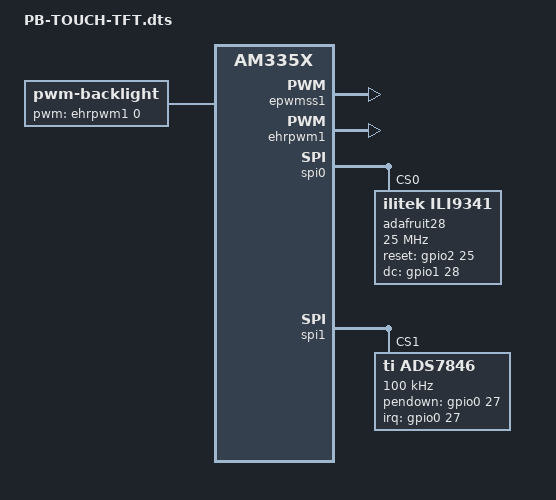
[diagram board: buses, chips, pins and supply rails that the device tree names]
/*
 * Touch LCD device tree
 *  - ILI9341 LCD device tree for a generic LCD display using the pocketbeagle SPI0
 *  - TSC2046 resistive touch controller (TSC2046) using the pocketbeagle SPI1
 *
 * Build
 *  dtc -O dtb -o PB-TOUCH-TFT.dtbo -b 0 -@ PB-TOUCH-TFT.dts
 *
 * Install
 *  sudo cp PB-TOUCH-TFT.dtbo /lib/firmware
 *  edit /boot/uEnv.txt as root and replace the ###Custom Cape line as shown below
 *
 *   ###Custom Cape
 *   dtb_overlay=/lib/firmware/PB-TOUCH-TFT.dtbo
 *
 * Reboot and you should be rewarded by a lit LCD and a /dev/fb0 entry for your pleasure.
 *
 * Based on the work by: AnthonyDiGirolamo and Ankit Daftery
 *
 */
/dts-v1/;
/plugin/;

/ {
compatible = "ti,am335x-pocketbeagle";

/* identification */
part-number = "PB-TOUCH-TFT";

/* version */
version = "00A0";

/* stat the resources this cape uses */
exclusive-use = 
	/* the LCD pin header uses */
	"P1.8",		/* spi0_sclk */
	"P1.10",	/* spi0_d0 - MISO */
	"P1.12",	/* spi0_d1 - MOSI */
	"P1.6",		/* spi0_cs0 */
	"P1.4",		/* gpio2_25 - reset */
	"P2.8",		/* gpio1_28 - dc */
	"P2.1",		/* ehrpwm1a - backlight */
	/* the Touch pin header uses */
	"P2.31",	/* SPI1_cs1 */
	"P2.27",	/* SPI1_d0 - MISO */
	"P2.25",	/* SPI1_d1 - MOSI */
	"P2.29",	/* SPI1_sclk */
	"P2.19",	/* gpio0_27 - pendown */
	/* the hardware ip uses */
	"gpio0_27",
	"gpio1_28",
	"gpio2_25",
	"ehrpwm1a",
	"spi0",
	"spi1";

	fragment@0 {
		target = <&ocp>;
		__overlay__ {
			P1_06_pinmux { status = "disabled"; };	/* LCD - CS */
			P1_08_pinmux { status = "disabled"; };	/* LCD - SCLK */
			P1_10_pinmux { status = "disabled"; };	/* LCD - MISO */
			P1_12_pinmux { status = "disabled"; };	/* LCD - MOSI */
			P2_01_pinmux { status = "disabled"; };	/* LCD - LED */
			P2_08_pinmux { status = "disabled"; };	/* LCD - DC */
			P1_04_pinmux { status = "disabled"; };	/* LCD - RST */
			P2_19_pinmux { status = "disabled"; };	/* Touch - pendown */
			P2_25_pinmux { status = "disabled"; };	/* Touch - MOSI */
			P2_27_pinmux { status = "disabled"; };	/* Touch - MISO */
			P2_29_pinmux { status = "disabled"; };	/* Touch - SCLK */
			P2_31_pinmux { status = "disabled"; };	/* Touch - CS */
		};
	};

	/*
	 * Free up the gpios used by the cape-universal gpio helpers.
	 */
	fragment@1 {
		target = <&ocp>;
		__overlay__ {
			cape-universal { status = "disabled"; };
		};
	};

	/*
	 * Make a new set of gpio helpers.
	 */
	fragment@2 {
		target = <&ocp>;
		__overlay__ {
			cape-universal@1 {
				compatible = "gpio-of-helper";
				status = "okay";
				pinctrl-names = "default";
				pinctrl-0 = <>;

				P1_02 {
					gpio-name = "P1_02";
					gpio = <&gpio2 23 0>;
					input;
					dir-changeable;
				};

				P1_20 {
					gpio-name = "P1_20";
					gpio = <&gpio0 20 0>;
					input;
					dir-changeable;
				};

				P1_26 {
					gpio-name = "P1_26";
					gpio = <&gpio0 12 0>;
					input;
					dir-changeable;
				};

				P1_28 {
					gpio-name = "P1_28";
					gpio = <&gpio0 13 0>;
					input;
					dir-changeable;
				};

				P1_29 {
					gpio-name = "P1_29";
					gpio = <&gpio3 21 0>;
					input;
					dir-changeable;
				};

				P1_30 {
					gpio-name = "P1_30";
					gpio = <&gpio1 11 0>;
					input;
					dir-changeable;
				};

				P1_31 {
					gpio-name = "P1_31";
					gpio = <&gpio3 18 0>;
					input;
					dir-changeable;
				};

				P1_32 {
					gpio-name = "P1_32";
					gpio = <&gpio1 10 0>;
					input;
					dir-changeable;
				};

				P1_33 {
					gpio-name = "P1_33";
					gpio = <&gpio3 15 0>;
					input;
					dir-changeable;
				};

				P1_34 {
					gpio-name = "P1_34";
					gpio = <&gpio0 26 0>;
					input;
					dir-changeable;
				};

				P1_35 {
					gpio-name = "P1_35";
					gpio = <&gpio2 24 0>;
					input;
					dir-changeable;
				};

				P1_36 {
					gpio-name = "P1_36";
					gpio = <&gpio3 14 0>;
					input;
					dir-changeable;
				};

				P2_02 {
					gpio-name = "P2_02";
					gpio = <&gpio1 27 0>;
					input;
					dir-changeable;
				};

				P2_03 {
					gpio-name = "P2_03";
					gpio = <&gpio0 23 0>;
					input;
					dir-changeable;
				};

				P2_04 {
					gpio-name = "P2_04";
					gpio = <&gpio1 26 0>;
					input;
					dir-changeable;
				};

				P2_05 {
					gpio-name = "P2_05";
					gpio = <&gpio0 30 0>;
					input;
					dir-changeable;
				};

				P2_06 {
					gpio-name = "P2_06";
					gpio = <&gpio1 25 0>;
					input;
					dir-changeable;
				};

				P2_07 {
					gpio-name = "P2_07";
					gpio = <&gpio0 31 0>;
					input;
					dir-changeable;
				};

				P2_09 {
					gpio-name = "P2_09";
					gpio = <&gpio0 15 0>;
					input;
					dir-changeable;
				};

				P2_10 {
					gpio-name = "P2_10";
					gpio = <&gpio1 20 0>;
					input;
					dir-changeable;
				};

				P2_11 {
					gpio-name = "P2_11";
					gpio = <&gpio0 14 0>;
					input;
					dir-changeable;
				};

				P2_17 {
					gpio-name = "P2_17";
					gpio = <&gpio2 1 0>;
					input;
					dir-changeable;
				};

				P2_18 {
					gpio-name = "P2_18";
					gpio = <&gpio1 15 0>;
					input;
					dir-changeable;
				};

				P2_20 {
					gpio-name = "P2_20";
					gpio = <&gpio2 0 0>;
					input;
					dir-changeable;
				};

				P2_22 {
					gpio-name = "P2_22";
					gpio = <&gpio1 14 0>;
					input;
					dir-changeable;
				};

				P2_24 {
					gpio-name = "P2_24";
					gpio = <&gpio1 12 0>;
					input;
					dir-changeable;
				};

				P2_28 {
					gpio-name = "P2_28";
					gpio = <&gpio3 20 0>;
					input;
					dir-changeable;
				};

				P2_30 {
					gpio-name = "P2_30";
					gpio = <&gpio3 17 0>;
					input;
					dir-changeable;
				};

				P2_32 {
					gpio-name = "P2_32";
					gpio = <&gpio3 16 0>;
					input;
					dir-changeable;
				};

				P2_33 {
					gpio-name = "P2_33";
					gpio = <&gpio1 13 0>;
					input;
					dir-changeable;
				};

				P2_34 {
					gpio-name = "P2_34";
					gpio = <&gpio3 19 0>;
					input;
					dir-changeable;
				};

				P2_35 {
					gpio-name = "P2_35";
					gpio = <&gpio2 22 0>;
					input;
					dir-changeable;
				};
			};
		};
	};

	fragment@3 {
		target = <&am33xx_pinmux>;
		__overlay__ {
			pwm_bl_pins: pinmux_pwm_bl_pins {
				pinctrl-single,pins = <
					0x48 0x06       /* ehrpwm1a, MODE6 */
				>;
			};
		};
	};

	fragment@4 {
		target = <&epwmss1>;
		__overlay__ {
			status = "okay";
		};
	};

	fragment@5 {
		target = <&ehrpwm1>;
		__overlay__ {
			status = "okay";
		};
	};

	fragment@6 {
		target = <&ocp>;
		__overlay__ {
			backlight {
				compatible = "pwm-backlight";
				pinctrl-names = "default";
				pinctrl-0 = <&pwm_bl_pins>;
				status = "okay";

				pwms = <&ehrpwm1 0 500000 0>;
				pwm-names = "backlight";
				brightness-levels = <0 4 8 16 32 64 128 255>;
				default-brightness-level = <7>; /* index to the array above */
			};
		};
	};

	fragment@7 {
		target = <&spi0>;
		__overlay__ {
			#address-cells = <1>;
			#size-cells = <0>;
			status = "okay";

			channel@0 {
				status = "disabled";
			};
			channel@1 {
				status = "disabled";
			};

			adafruit28: adafruit28@0{
				compatible = "ilitek,ili9341";
				pinctrl-names = "default";
				pinctrl-0 = <
					&P1_06_spi_cs_pin	/* CS */
					&P1_08_spi_sclk_pin	/* SCLK */
					&P1_12_spi_pin		/* D1 (MOSI) */
					&P1_10_spi_pin		/* D0 (MISO) */
					&P1_04_gpio_pin		/* RST */
					&P2_08_gpio_pin		/* DC */
				>;
				reg = <0>;
				buswidth = <8>;
				reset-gpios = <&gpio2 25 0>; /* P1_04 - 89 */
				dc-gpios = <&gpio1 28 0>; /* P2_08 - 2 */
				debug = <1>;
				spi-max-frequency = <25000000>;
				rotate = <90>;
				bgr;
				fps = <30>;
			};
		};
	};


	fragment@8 {
		target = <&spi1>;
		__overlay__ {
			#address-cells = <0x1>;
	     	        #size-cells = <0>;
			status = "okay";
			pinctrl-names = "default";
			pinctrl-0 = <
				&P2_29_spi_sclk_pin		/* SCLK */
				&P2_31_spi_cs_pin               /* CS */
				&P2_25_spi_pin                  /* D1 (MOSI) */
				&P2_27_spi_pin                  /* D1 (MISO) */
			>;
			#ti,pindir-d0-out-d1-in = <1>;
 		    ads7846@0 {
				compatible = "ti,ads7846";
				spi-max-frequency = <100000>;   /* Higher frequency causes more jitter */
				interrupts = <27 0>;             /* pin number 19 and falling edge interrupt */
				interrupt-parent = <&gpio0>;
				pendown-gpio = <&gpio0 27 0>;        /* This corresponds to pin no 19 = GPIO0[27]*/
				reg = <1>;     /* We are using chip select 1, so we enter 1 here */
                #addr-size = <2>;
                #page-size = <32>;

                /* driver defaults */
                ti,x-min = /bits/ 16 <0xB0>;
                ti,y-min = /bits/ 16 <0x231>;
                ti,x-max = /bits/ 16 <0xF49>;
                ti,y-max = /bits/ 16 <0xF6B>;
                ti,pressure-min = /bits/ 16 <0>;
                ti,pressure-max = /bits/ 16 <0xFF>;
                ti,x-plate-ohms = /bits/ 16 <0x96>;
                ti,swap_xy = /bits/ 16 <0>;
                ti,keep_vref_on = /bits/ 16 <0>;
                ti,cs = /bits/ 16 <1>;
    		    linux,wakeup;
	        };
        };
    };

};
